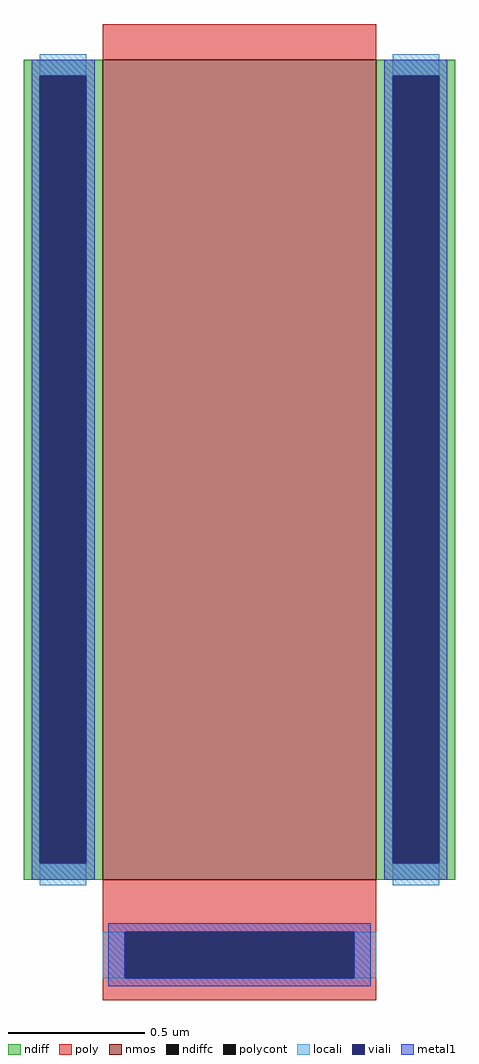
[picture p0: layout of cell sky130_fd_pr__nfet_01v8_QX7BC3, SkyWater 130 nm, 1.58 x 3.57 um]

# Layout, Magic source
magic
tech sky130A
magscale 1 2
<< nmos >>
rect -100 -269 100 331
<< ndiff >>
rect -158 319 -100 331
rect -158 -257 -146 319
rect -112 -257 -100 319
rect -158 -269 -100 -257
rect 100 319 158 331
rect 100 -257 112 319
rect 146 -257 158 319
rect 100 -269 158 -257
<< ndiffc >>
rect -146 -257 -112 319
rect 112 -257 146 319
<< poly >>
rect -100 331 100 357
rect -100 -307 100 -269
rect -100 -341 -84 -307
rect 84 -341 100 -307
rect -100 -357 100 -341
<< polycont >>
rect -84 -341 84 -307
<< locali >>
rect -146 319 -112 335
rect -146 -273 -112 -257
rect 112 319 146 335
rect 112 -273 146 -257
rect -100 -341 -84 -307
rect 84 -341 100 -307
<< viali >>
rect -146 -257 -112 319
rect 112 -257 146 319
rect -84 -341 84 -307
<< metal1 >>
rect -152 319 -106 331
rect -152 -257 -146 319
rect -112 -257 -106 319
rect -152 -269 -106 -257
rect 106 319 152 331
rect 106 -257 112 319
rect 146 -257 152 319
rect 106 -269 152 -257
rect -96 -307 96 -301
rect -96 -341 -84 -307
rect 84 -341 96 -307
rect -96 -347 96 -341
<< properties >>
string gencell sky130_fd_pr__nfet_01v8
string library sky130
string parameters w 3 l 1 m 1 nf 1 diffcov 100 polycov 100 guard 0 glc 0 grc 0 gtc 0 gbc 0 tbcov 100 rlcov 100 topc 0 botc 1 poverlap 0 doverlap 0 lmin 0.15 wmin 0.42 compatible {sky130_fd_pr__nfet_01v8 sky130_fd_pr__nfet_01v8_lvt  sky130_fd_bs_flash__special_sonosfet_star  sky130_fd_pr__nfet_g5v0d10v5 sky130_fd_pr__nfet_05v0_nvt  sky130_fd_pr__nfet_03v3_nvt} full_metal 0 viasrc 100 viadrn 100 viagate 100 viagb 0 viagr 0 viagl 0 viagt 0
string sky130_fd_pr__nfet_01v8_QX7BC3 parameters
string sky130_fd_pr__nfet_01v8_QX7BC3#0 parameters
<< end >>
